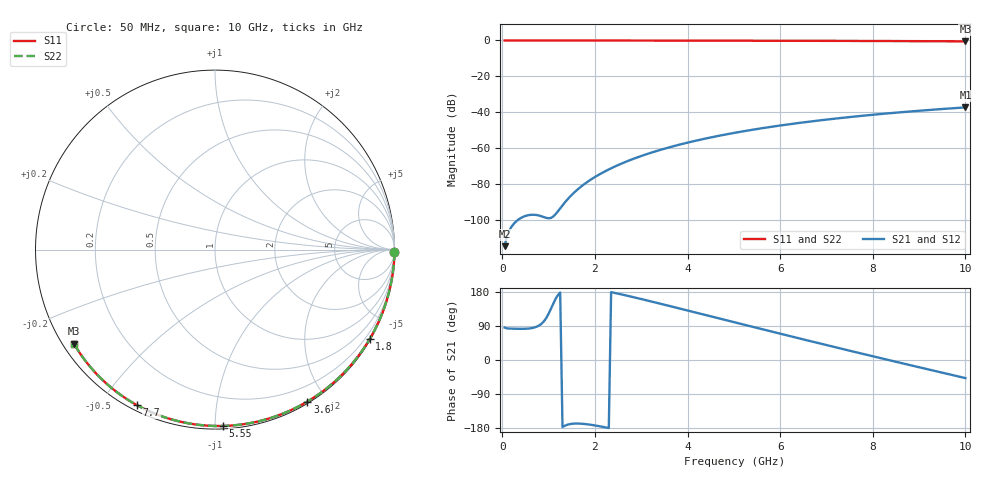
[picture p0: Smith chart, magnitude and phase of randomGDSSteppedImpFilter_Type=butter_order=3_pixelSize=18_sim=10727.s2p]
! freq	dB(S11)	phase(S11)	dB(S12)	phase(S12)
!  dB(S21)	phase(S21)	dB(S22)	phase(S22)
!S-par simulation data
#  GHz  S  DB  R 50
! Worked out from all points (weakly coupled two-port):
!   200 points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, 50 MHz to 10 GHz, reference 50 ohm
!   highest |S21| = -37.32 dB at 10 GHz (marker M1); lowest = -114.7 dB at 50 MHz (marker M2)
!   lowest |S11| = -0.5 dB at 10 GHz (marker M3), VSWR 35.21, Z = 1.55 - j15.2 ohm
!   |S11| at or under -10 dB: nowhere
!   |S22| runs from -0.5 to 0.0 dB; largest |S21 - S12| = 0
!   S11 on the Smith chart (normalised r, x): 50 MHz: open; 1.8 GHz: 0.03, -3.72; 3.6 GHz: 0.02, -1.78; 5.55 GHz: 0.02, -1.05; 7.7 GHz: 0.02, -0.62; 10 GHz: 0.03, -0.30
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0.05  -0.00 -0.9  -114.68 85.5  -114.68 85.5  -0.00 -0.9
0.45  -0.01 -7.7  -98.32 82.3  -98.32 82.3  -0.01 -7.7
0.9  -0.02 -15.2  -98.48 102.3  -98.48 102.3  -0.02 -15.2
1.3  -0.03 -21.9  -91.92 -176.9  -91.92 -176.9  -0.03 -21.9
1.75  -0.04 -29.3  -80.48 -168.5  -80.48 -168.5  -0.04 -29.3
1.8  -0.04 -30.1  -79.53 -169.2  -79.53 -169.2  -0.04 -30.1
1.95  -0.04 -32.6  -76.92 -171.6  -76.92 -171.6  -0.04 -32.6
2.1  -0.04 -35.0  -74.62 -174.8  -74.62 -174.8  -0.04 -35.0
2.3  -0.05 -38.3  -71.89 -179.6  -71.89 -179.6  -0.05 -38.3
2.5  -0.05 -41.5  -69.47 175.1  -69.47 175.1  -0.05 -41.5
2.9  -0.06 -47.8  -65.33 163.8  -65.33 163.8  -0.06 -47.8
3.4  -0.07 -55.7  -61.10 149.0  -61.10 149.0  -0.07 -55.6
3.6  -0.08 -58.7  -59.62 142.9  -59.62 142.9  -0.08 -58.7
4.3  -0.10 -69.3  -55.17 121.5  -55.17 121.5  -0.10 -69.3
5.05  -0.12 -80.3  -51.33 98.4  -51.33 98.4  -0.12 -80.3
5.55  -0.14 -87.4  -49.16 83.1  -49.16 83.1  -0.14 -87.4
6.1  -0.17 -95.1  -47.05 66.4  -47.05 66.4  -0.17 -95.1
6.7  -0.20 -103.3  -45.03 48.4  -45.03 48.4  -0.20 -103.3
7.7  -0.27 -116.6  -42.17 18.7  -42.17 18.7  -0.27 -116.6
8.35  -0.32 -125.0  -40.59 -0.3  -40.59 -0.3  -0.32 -125.0
9.2  -0.40 -136.0  -38.78 -24.9  -38.78 -24.9  -0.40 -136.0
10  -0.49 -146.2  -37.32 -47.8  -37.32 -47.8  -0.49 -146.3
